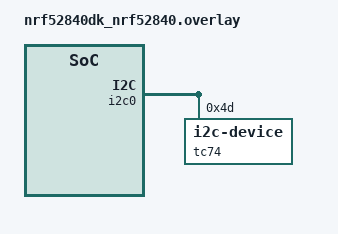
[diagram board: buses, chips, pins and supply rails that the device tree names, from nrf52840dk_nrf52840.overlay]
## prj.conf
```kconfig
CONFIG_GPIO=y
CONFIG_I2C=y
CONFIG_PRINTK=y
CONFIG_UART_CONSOLE=y
CONFIG_TIMING_FUNCTIONS=y
CONFIG_SERIAL=y
CONFIG_UART_ASYNC_API=y
```

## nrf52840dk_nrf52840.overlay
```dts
// To get started, press Ctrl+Space to bring up the completion menu and view the available nodes.

// You can also use the buttons in the sidebar to perform actions on nodes.
// Actions currently available include:

// * Enabling / disabling the node
// * Adding the bus to a bus
// * Removing the node
// * Connecting ADC channels

// For more help, browse the DeviceTree documentation at https://docs.zephyrproject.org/latest/guides/dts/index.html
// You can also visit the nRF DeviceTree extension documentation at https://nrfconnect.github.io/vscode-nrf-connect/devicetree/nrfdevicetree.html


// end do tc74 -> 100 1101 4d
&i2c0 {  
    tc74: tc74@4d{
        compatible = "i2c-device";
        reg = < 0x4d >;
        label = "tc74";
    };
};
```

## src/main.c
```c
/** @file main.c
 * @brief Main source file for the real-time database application
 *
 * This file creates a real-time database that works by threads
 * It initializes devices, configures pins and starts threads for different actions
 * 
 * @author Bernardo Tavares bernardot@ua.pt and Joao Rodrigues jpcr@ua.pt
 * @date 06 June 2023
 * @bug No known bugs.
 */

/* Includes */
#include <zephyr/kernel.h>          /* for kernel functions*/
#include <zephyr/device.h>
#include <zephyr/devicetree.h>
#include <zephyr/drivers/gpio.h>
#include <zephyr/sys/printk.h>
#include <zephyr/timing/timing.h>   /* for timing services */
#include <zephyr/types.h>
#include <zephyr/drivers/i2c.h>
#include <zephyr/drivers/uart.h>
#include <zephyr/sys/util.h>
#include <inttypes.h>

/* Size of stack area used by each thread (can be thread specific, if necessary)*/
#define STACK_SIZE 1024

/* Thread scheduling priority */
#define thread_temperature_prio 3
#define thread_button_prio 3
#define thread_led_prio 3
#define thread_cmd_prio 3
#define thread_print_prio 2

/* Thread periodicity (in ms)*/
volatile int thread_temperature_period = 20;
volatile int64_t release_time_temperature = 0;
volatile int thread_button_period = 20;
volatile int64_t release_time_button = 0;
volatile int thread_led_period = 20;
volatile int64_t release_time_led = 0;
#define thread_print_period 300
#define thread_cmd_period 20

/* 1000 msec = 1 sec */
#define SLEEP_TIME_MS 1000

/* Define the size of the UART receive buffer */
#define RECEIVE_BUFF_SIZE 10

/* Define the receiving timeout period of UART */
#define RECEIVE_TIMEOUT 100

/* I2C node identifier*/
#define I2C_NODE DT_NODELABEL(tc74)

/* UART node identifier*/
#define UART_NODE DT_NODELABEL(uart0)

/* Get node IDs. Refer to dts file and HW documentation*/
#define LED0_NID DT_NODELABEL(led0) 
#define LED1_NID DT_NODELABEL(led1)
#define LED2_NID DT_NODELABEL(led2)
#define LED3_NID DT_NODELABEL(led3)  
#define BUT0_NID DT_NODELABEL(button0) 
#define BUT1_NID DT_NODELABEL(button1) 
#define BUT2_NID DT_NODELABEL(button2) 
#define BUT3_NID DT_NODELABEL(button3) 

/* Define for filtering commands */
#define MAX_CMDSTRING_SIZE 10   /* Maximum size of the command string */ 
#define SOF_SYM '#'             /* Start of Frame Symbol */
#define EOF_SYM '!'             /* End of Frame Symbol */
#define EXIT_SUCCESS    0;      /* Successfull exit */
#define EMPTY_STRING   -1;      /* String is empty */
#define STRING_FULL    -1;      /* String is full */
#define CMD_NOT_FOUND  -2;      /* Invalid CMD */
#define WRONG_STR_FORMAT -4;    /* Wrong string format*/

/* Sensor config register*/
#define config  0x00

/* Create thread stack space */
K_THREAD_STACK_DEFINE(thread_temperature_stack, STACK_SIZE);
K_THREAD_STACK_DEFINE(thread_button_stack, STACK_SIZE);
K_THREAD_STACK_DEFINE(thread_led_stack, STACK_SIZE);
K_THREAD_STACK_DEFINE(thread_print_stack, STACK_SIZE);
K_THREAD_STACK_DEFINE(thread_cmd_stack, STACK_SIZE);
  
/* Create variables for thread data */
struct k_thread thread_temperature_data;
struct k_thread thread_button_data;
struct k_thread thread_led_data;
struct k_thread thread_print_data;
struct k_thread thread_cmd_data;

/* Create task IDs */
k_tid_t thread_temperature_tid;
k_tid_t thread_button_tid;
k_tid_t thread_led_tid;
k_tid_t thread_print_tid;
k_tid_t thread_cmd_tid;

/* Thread code prototypes */
void thread_temperature_code(void *argA, void *argB, void *argC);
void thread_button_code(void *argA, void *argB, void *argC);
void thread_led_code(void *argA, void *argB, void *argC);
void thread_print_code(void *argA, void *argB, void *argC);
void thread_cmd_code(void *argA, void *argB, void *argC);

/* I2C struct*/
static const struct i2c_dt_spec dev_i2c = I2C_DT_SPEC_GET(I2C_NODE);

/* Get the device pointer of the UART hardware */
const struct device *uart = DEVICE_DT_GET(UART_NODE);

/* Get gpio device structures */
const struct gpio_dt_spec led0_dev = GPIO_DT_SPEC_GET(LED0_NID,gpios);
const struct gpio_dt_spec led1_dev = GPIO_DT_SPEC_GET(LED1_NID,gpios);
const struct gpio_dt_spec led2_dev = GPIO_DT_SPEC_GET(LED2_NID,gpios);
const struct gpio_dt_spec led3_dev = GPIO_DT_SPEC_GET(LED3_NID,gpios);

const struct gpio_dt_spec but0_dev = GPIO_DT_SPEC_GET(BUT0_NID,gpios);
const struct gpio_dt_spec but1_dev = GPIO_DT_SPEC_GET(BUT1_NID,gpios);
const struct gpio_dt_spec but2_dev = GPIO_DT_SPEC_GET(BUT2_NID,gpios);
const struct gpio_dt_spec but3_dev = GPIO_DT_SPEC_GET(BUT3_NID,gpios);

/* Variables to use when a button is pressed */
volatile int But0 = 0;      
volatile int But1 = 0;      
volatile int But2 = 0;      
volatile int But3 = 0;  

volatile int led0stat = 0; /* Led status variable. Updated by the callback function */
volatile int led1stat = 0; /* Led status variable. Updated by the callback function */
volatile int led2stat = 0; /* Led status variable. Updated by the callback function */
volatile int led3stat = 0; /* Led status variable. Updated by the callback function */

/* Temporary variable to store user input for leds*/
volatile int led0temp = 0;
volatile int led1temp = 0;
volatile int led2temp = 0; 
volatile int led3temp = 0;

/* Temperature */
volatile int8_t temp;
volatile int update_temperature_period = 0;
volatile int update_button_period = 0;
volatile int update_led_period = 0;

/* Define the transmission buffer, which is a buffer to hold the data to be sent over UART */
static uint8_t tx_buf[] =   {""};

/* Define the receive buffer */
static uint8_t rx_buf[RECEIVE_BUFF_SIZE] = {0};

/* String full*/
volatile int strFull = 0;

/* Internal variables */
static char cmdString[RECEIVE_BUFF_SIZE];   //array to save chars 
static unsigned char cmdStringLen = 0;      //array index
int SOF_C = 0;      //Start of frame symbol counter per command
int EOF_C = 0;      //End of frame symbol counter per command
volatile int ret;
volatile int cmd = 0;   //1-> command inserted, 0-> wait
volatile int res = 1;

/* Functions prototypes */
void resetCmdString(void);
int cmdProcessor(void);
int newCmdChar(unsigned char newChar);
static void uart_cb(const struct device *dev, struct uart_event *evt, void *user_data);

/**
 * @brief Main function of the program
 *
 * This function checks all the devices' status (LEDs, Buttons, UART, I2C)
 * and configures all the necessary pins for the project (4 LEDs and 4 Buttons).
 * It also creates 4 threads to execute different actions:
 *  - One to observe the Sensor's Temperature
 *  - One to control the LEDs
 *  - One to control the Buttons
 *  - One for the commands
 *  - One for the prints on the terminal
 * 
 * @return Doesn't return anything
 */
 
void main(void) {

    /* Leds */
	if (!device_is_ready(led0_dev.port))  
	{
        printk("Fatal error: led1 device not ready!");
		return;
	}

    if (!device_is_ready(led1_dev.port))  
	{
        printk("Fatal error: led2 device not ready!");
		return;
	}

    if (!device_is_ready(led2_dev.port))  
	{
        printk("Fatal error: led3 device not ready!");
		return;
	}

    if (!device_is_ready(led3_dev.port))  
	{
        printk("Fatal error: led4 device not ready!");
		return;
	}
    
    /* Buttons */
    if (!device_is_ready(but0_dev.port))  
	{
        printk("Fatal error: but0 device not ready!");
		return;
	}

    if (!device_is_ready(but1_dev.port))  
	{
        printk("Fatal error: but1 device not ready!");
		return;
	}

    if (!device_is_ready(but2_dev.port))  
	{
        printk("Fatal error: but2 device not ready!");
        return;
	}

    if (!device_is_ready(but3_dev.port))  
	{
        printk("Fatal error: but3 device not ready!");
		return;
	}

    /* UART */
    if (!device_is_ready(uart)) {
        printk("UART device not ready\r\n");
        return;
    }

    /* I2C */
    if (!device_is_ready(dev_i2c.bus)) {
        printk("I2C bus %s is not ready!\n\r",dev_i2c.bus->name);
        return;
    }
    
    /* Configure PINS */
    
    /* Leds */
    ret = gpio_pin_configure_dt(&led0_dev, led0_dev.dt_flags | GPIO_OUTPUT_ACTIVE);
    if (ret < 0) {
        printk("Error %d: Failed to configure LED 0 \n\r", ret);
	    return;
    }

	ret = gpio_pin_configure_dt(&led1_dev, led1_dev.dt_flags | GPIO_OUTPUT_ACTIVE);
    if (ret < 0) {
        printk("Error %d: Failed to configure LED 1 \n\r", ret);
	    return;
    }

	ret = gpio_pin_configure_dt(&led2_dev, led2_dev.dt_flags | GPIO_OUTPUT_ACTIVE);
    if (ret < 0) {
        printk("Error %d: Failed to configure LED 2 \n\r", ret);
	    return;
    }

	ret = gpio_pin_configure_dt(&led3_dev, led3_dev.dt_flags | GPIO_OUTPUT_ACTIVE);
    if (ret < 0) {
        printk("Error %d: Failed to configure LED 3 \n\r", ret);
	    return;
    }

    /* Buttons */
    ret = gpio_pin_configure_dt(&but0_dev, GPIO_INPUT | GPIO_PULL_UP);
    if (ret < 0) {
        printk("Error %d: Failed to configure BUT 0 \n\r", ret);
	    return;
    }

    ret = gpio_pin_configure_dt(&but1_dev, GPIO_INPUT | GPIO_PULL_UP);
    if (ret < 0) {
        printk("Error %d: Failed to configure BUT 1 \n\r", ret);
	    return;
    }

    ret = gpio_pin_configure_dt(&but2_dev, GPIO_INPUT | GPIO_PULL_UP);
    if (ret < 0) {
        printk("Error %d: Failed to configure BUT 2 \n\r", ret);
	    return;
    }

    ret = gpio_pin_configure_dt(&but3_dev, GPIO_INPUT | GPIO_PULL_UP);
    if (ret < 0) {
        printk("Error %d: Failed to configure BUT 3 \n\r", ret);
	    return;
    }

    /* UART */
    ret = uart_callback_set(uart, uart_cb, NULL);
    if (ret) {
		return;
	}

    /* Send the data over UART by calling uart_tx() */
	ret = uart_tx(uart, tx_buf, sizeof(tx_buf), SYS_FOREVER_MS);
    if (ret) {
		return;
	}

    /* Start receiving by calling uart_rx_enable() and pass it the address of the receive  buffer */
	ret = uart_rx_enable(uart ,rx_buf,sizeof rx_buf,RECEIVE_TIMEOUT);
	if (ret) {
		return;
	}

    /* I2C */
    ret = i2c_write_dt(&dev_i2c, config, sizeof(config));
    if (ret != 0) {
        printk("Failed to write to I2C device address %x at Reg. %x \n",dev_i2c.addr,config);
    }

    timing_init();
    timing_start();

    /* Then create the task */
    thread_temperature_tid = k_thread_create(&thread_temperature_data, thread_temperature_stack,
        K_THREAD_STACK_SIZEOF(thread_temperature_stack), thread_temperature_code,
        NULL, NULL, NULL, thread_temperature_prio, 0, K_NO_WAIT);

    thread_button_tid = k_thread_create(&thread_button_data, thread_button_stack,
        K_THREAD_STACK_SIZEOF(thread_button_stack), thread_button_code,
        NULL, NULL, NULL, thread_button_prio, 0, K_NO_WAIT);

    thread_led_tid = k_thread_create(&thread_led_data, thread_led_stack,
        K_THREAD_STACK_SIZEOF(thread_led_stack), thread_led_code,
        NULL, NULL, NULL, thread_led_prio, 0, K_NO_WAIT);
	
	thread_print_tid = k_thread_create(&thread_print_data, thread_print_stack,
        K_THREAD_STACK_SIZEOF(thread_print_stack), thread_print_code,
        NULL, NULL, NULL, thread_print_prio, 0, K_NO_WAIT);
    
    thread_cmd_tid = k_thread_create(&thread_cmd_data, thread_cmd_stack,
        K_THREAD_STACK_SIZEOF(thread_cmd_stack), thread_cmd_code,
        NULL, NULL, NULL, thread_cmd_prio, 0, K_NO_WAIT);

        resetCmdString();
    return;

}

/**
 * @brief Command Processor 
 *
 * Processes the chars received so far looking for commands
 * Types of commands accepted are :
 * For leds -> #LXY! X(number of led), Y(state of led)
 * For threads -> #TXYYYY! X(thread number) YYYY(number in ms with range [0; 9999]) 
 * 
 * @return  0 if a valid command was found and executed
 * @return -1 if incomplete command found
 * @return -2 if string is full or empty
 * @return -4 if string format is wrong 
 */

int cmdProcessor(void) {

	int i;
    for(i=0; i < cmdStringLen; i++) {
        if(cmdString[i] == '#') {
			SOF_C ++;
		}
		else if(cmdString[i] == '!') {
			EOF_C ++;
        }
	}
    if((SOF_C != 1) || (EOF_C != 1)) {
		SOF_C = 0;
		EOF_C = 0;
	    return WRONG_STR_FORMAT;
	}

	/* Detect empty cmd string */
	if(cmdStringLen == 0) {
		return EMPTY_STRING;
    } 

	/* Find index of SOF */
	for(i=0; i < cmdStringLen; i++) {
		if(cmdString[i] == SOF_SYM) {
			break;
		}
	}											

	/* If a SOF was found look for commands */
	if(i < cmdStringLen) {
		if(cmdString[i+1] == 'L') { /* L command detected */

            if((cmdString[i+4] != EOF_SYM) || ((i+4) > cmdStringLen)) { /*Detect EOF symbol*/
				return WRONG_STR_FORMAT;	
			}
            /* Finds the correct led and saves the state the user inputted */
            switch(cmdString[i+2]) {
                case('1'):
                    led0temp = (cmdString[i+3]-'0');
                break;

                case('2'):
                    led1temp = (cmdString[i+3]-'0');
                break;

                case('3'):
                    led2temp = (cmdString[i+3]-'0');
                break;

                case('4'):
                    led3temp = (cmdString[i+3]-'0');
                break;
                
                default:
                return WRONG_STR_FORMAT;
            }
            return EXIT_SUCCESS;

        }else if(cmdString[i+1] == 'T') { /* T command detected */

			if(cmdString[i+7] != EOF_SYM)  {/*Detect EOF symbol*/
					return WRONG_STR_FORMAT;	
			}
            /* Finds the correct thread and calculates the user input in ms */
            /* Thread temperature -> 1   thread button -> 2  thread led -> 3 */
            switch(cmdString[i+2]) {
                case('1'):
                    thread_temperature_period = (cmdString[i+3] - '0') * 1000 + (cmdString[i+4] - '0') * 100 + (cmdString[i+5] - '0') * 10 + (cmdString[i+6] - '0') * 1;
                    update_temperature_period = 1;
                break;

                case('2'):
                    thread_button_period = (cmdString[i+3] - '0') * 1000 + (cmdString[i+4] - '0') * 100 + (cmdString[i+5] - '0') * 10 + (cmdString[i+6] - '0') * 1;                    
                    update_button_period = 1;
                break;

                case('3'):
                    thread_led_period = (cmdString[i+3] - '0') * 1000 + (cmdString[i+4] - '0') * 100 + (cmdString[i+5] - '0') * 10 + (cmdString[i+6] - '0') * 1;
                    update_led_period = 1;
                break;

                default:
                    return WRONG_STR_FORMAT;                        
                }
			return EXIT_SUCCESS;
		}else {
			return CMD_NOT_FOUND;
		}		
	}
	/* cmd string not null and SOF not found */
	return WRONG_STR_FORMAT;
}

/**
 * @brief Add new command character
 *
 * Adds a char to the cmd string
 * 
 * @return  0 if the char was added with success
 * @return -1 if the command string is full
 */

int newCmdChar(unsigned char newChar) {
	/* If cmd string not full add char to it */
	if (cmdStringLen < MAX_CMDSTRING_SIZE) {
		cmdString[cmdStringLen] = newChar;
		cmdStringLen ++;
		return EXIT_SUCCESS;
	}
	/* If cmd string full return error */
	return STRING_FULL;
}

/**
 * @brief Reset Command String
 *
 * Resets the command string and related values to their initial values
 * 
 * @return Doesn't return anything
 */
 
void resetCmdString(void) {
	cmdStringLen = 0;
	SOF_C = 0;
	EOF_C = 0;	
    strFull = 0;	
}

/**
 * @brief UART callback function
 *
 * This function is a callback handler for UART events. It handles different
 * events and, for each one, does the corresponding action 
 *
 * @param dev   Pointer to the UART device 
 * @param evt   Pointer to the UART event
 * @param user_data User-defined data
 *
 * @return  Doesn't return anything
 */

static void uart_cb(const struct device *dev, struct uart_event *evt, void *user_data) {
	
    switch (evt->type) {

	case UART_RX_RDY:
        if(evt->data.rx.len > 0){
            /* if return is pressed enters condition and signals command was inputted via cmd variable */
            if(evt->data.rx.buf[evt->data.rx.offset] == '\r') {
                cmd = 1;
                break;
            }
            /* saves the inputted char in the array */
            res = newCmdChar(evt->data.rx.buf[evt->data.rx.offset]);
            if(res != 0) {
                strFull = 1;
            }
        }
        break;

	case UART_RX_DISABLED:
		uart_rx_enable(dev ,rx_buf,sizeof rx_buf,RECEIVE_TIMEOUT);
		break;
		
	default:
		break;
    }
}

/**
 * @brief Thread to observe Sensor's Temperature
 *
 * This thread reads the temperature of the sensor through I2C and calculates the 
 * temperature based on the value read from the sensor.
 *
 * @param argA  Pointer to the first argument
 * @param argB  Pointer to the second argument
 * @param argC  Pointer to the third argument
 *
 * @return  Doesn't return anything
 */

void thread_temperature_code(void *argA , void *argB, void *argC)
{
    /* Local vars */
    int64_t fin_time=0;     /* Timing variables to control task periodicity */  
    
    /* Task init code */
    printk("Thread temperature init (periodic)\n");

    /* Compute next release instant */
    release_time_temperature = k_uptime_get() + thread_temperature_period;

    /* Thread loop */
    while(1) {		
		/* update the thread peridiocity if condition is true*/
        if(update_temperature_period){
            release_time_temperature = k_uptime_get() + thread_temperature_period;
            update_temperature_period = 0;
        }
        /* read the temperature */
		ret = i2c_read_dt(&dev_i2c, &temp, sizeof(temp));
		if(ret != 0){
			printk("Failed to write/read I2C device address %x at Reg. %x \r\n", dev_i2c.addr,config);
		}
        /* temperatures above 128 (0x80) are negative*/
		if(temp >= 128){
			temp = 128 - temp;
		}

        /* Wait for next release instant */ 
        fin_time = k_uptime_get();
        if( fin_time < release_time_temperature) {
            k_msleep(release_time_temperature - fin_time);
            release_time_temperature += thread_temperature_period;

        }
    }

    /* Stop timing functions */
    timing_stop();
}

/**
 * @brief Thread to control the buttons
 *
 * This thread reads the status of the buttons using GPIO pins
 *
 * @param argA  Pointer to the first argument
 * @param argB  Pointer to the second argument
 * @param argC  Pointer to the third argument
 *
 * @return  Doesn't return anything
 */

void thread_button_code(void *argA , void *argB, void *argC)
{
    /* Local vars */
    int64_t fin_time=0;     /* Timing variables to control task periodicity */  
        
    /* Task init code */
    printk("Thread button init (periodic)\n");

    /* Compute next release instant */
    release_time_button = k_uptime_get() + thread_button_period;

    /* Thread loop */
    while(1) {        
       /* update the thread peridiocity if condition is true*/
        if(update_button_period){
            release_time_button = k_uptime_get() + thread_button_period;
            update_button_period = 0;
        }
        /* get state of each button */
        But0 = gpio_pin_get_dt(&but0_dev);
        But1 = gpio_pin_get_dt(&but1_dev);
        But2 = gpio_pin_get_dt(&but2_dev);
        But3 = gpio_pin_get_dt(&but3_dev);

        /* Wait for next release instant */ 
        fin_time = k_uptime_get();
        if( fin_time < release_time_button) {
            k_msleep(release_time_button - fin_time);
            release_time_button += thread_button_period;
        }
    }
    /* Stop timing functions */
    timing_stop();
}

/**
 * @brief Thread to control the LEDs
 *
 * This thread reads the status of the LEDs using GPIO pins
 *
 * @param argA  Pointer to the first argument
 * @param argB  Pointer to the second argument
 * @param argC  Pointer to the third argument
 *
 * @return  Doesn't return anything
 */

void thread_led_code(void *argA , void *argB, void *argC)
{
    /* Local vars */
    int64_t fin_time=0;     /* Timing variables to control task periodicity */    
        
    /* Task init code */
    printk("Thread led init (periodic)\n");

    /* Compute next release instant */
    release_time_led = k_uptime_get() + thread_led_period;

    /* Thread loop */
    while(1) {     
        /* update the thread peridiocity if condition is true*/
        if(update_led_period){
            release_time_led = k_uptime_get() + thread_led_period;
            update_led_period = 0;
        }
        /* update variable to send to each led from the temporary ones */
        led0stat = led0temp;
        led1stat = led1temp;
        led2stat = led2temp;
        led3stat = led3temp;
       /* checks the value of each led in the table and sets it*/
        gpio_pin_set_dt(&led0_dev,led0stat);
        gpio_pin_set_dt(&led1_dev,led1stat);
        gpio_pin_set_dt(&led2_dev,led2stat);
        gpio_pin_set_dt(&led3_dev,led3stat);

        /* Wait for next release instant */ 
        fin_time = k_uptime_get();
        if( fin_time < release_time_led) {
            k_msleep(release_time_led - fin_time);
            release_time_led += thread_led_period;
        }
    }
    /* Stop timing functions */
    timing_stop();
}

/**
 * @brief Thread to process the commands
 *
 * This thread processes commands and executes certain actions 
 * based on the command
 *
 * @param argA  Pointer to the first argument
 * @param argB  Pointer to the second argument
 * @param argC  Pointer to the third argument
 *
 * @return  Doesn't return anything
 */

void thread_cmd_code(void *argA , void *argB, void *argC)
{
    /* Local vars */
    int64_t fin_time=0, release_time = 0;     /* Timing variables to control task periodicity */    
        
    /* Task init code */
    printk("Thread cmd init (periodic)\n");

    /* Compute next release instant */
    release_time = k_uptime_get() + thread_cmd_period;

    /* Thread loop */
    while(1) {        
        if(cmd){
            res = cmdProcessor();
            printk("\n\rcmdProcessor output: %d\n\r", res);
            resetCmdString();
            cmd=0;
        }

        /* Wait for next release instant */ 
        fin_time = k_uptime_get();
        if( fin_time < release_time) {
            k_msleep(release_time - fin_time);
            release_time += thread_cmd_period;
        }
    }

    /* Stop timing functions */
    timing_stop();
}

/**
 * @brief Thread to print information 
 *
 * This thread prints information about the status of the GPIO Pins (LEDs and Buttons),
 * the value of temperature of the sensor and also the current command string
 *
 * @param argA  Pointer to the first argument
 * @param argB  Pointer to the second argument
 * @param argC  Pointer to the third argument
 *
 * @return  Doesn't return anything
 */

void thread_print_code(void *argA , void *argB, void *argC)
{
    /* Local vars */
    int64_t fin_time=0, release_time=0;     /* Timing variables to control task periodicity */    
        
    /* Task init code */
    printk("Thread led init (periodic)\n");

    /* Compute next release instant */
    release_time = k_uptime_get() + thread_print_period;

    /* Thread loop */
    while(1) {    
        printk("\033[2J\033[H");  
       /* Print menu */       
	    printk("#######     Menu     #######\n\n\r   Button state (1-ON  0-OFF):\n\r   Button 1 : %d   Button 2 : %d   Button 3 : %d   Button 4 : %d\n\n\r",But0,But1,But2,But3);
	    printk("   Led state(1-ON  0-OFF):\n\r   Led 1 : %d   Led 2 : %d   Led 3 : %d   Led 4 : %d\n\n\r",led0stat,led1stat,led2stat,led3stat);
		printk("   Temperature : %d C\n\r",temp);
        printk("   Command : ");
        /* prints the typed char */
        for(int i = 0; i < cmdStringLen; i++) {
            printk("%c",cmdString[i]);
        }
        if(strFull) {
            printk("        String is full! Press enter!");
        }
        /* Wait for next release instant */ 
        fin_time = k_uptime_get();
        if( fin_time < release_time) {
            k_msleep(release_time - fin_time);
            release_time += thread_print_period;

        }
    }

    /* Stop timing functions */
    timing_stop();
}
```
